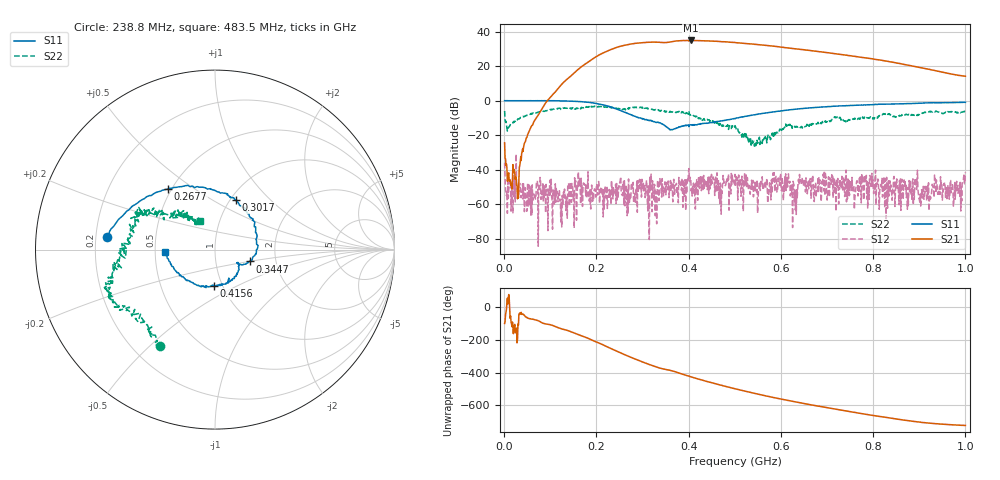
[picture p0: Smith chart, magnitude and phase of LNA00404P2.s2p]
! Created with skrf 1.9.0 (http://scikit-rf.org).
# Hz S RI R 50.0
!freq ReS11 ImS11 ReS21 ImS21 ReS12 ImS12 ReS22 ImS22
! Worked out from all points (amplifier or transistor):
!   1001 points, 1 MHz to 1 GHz, reference 50 ohm
!   highest |S21| = 34.9 dB at 404.6 MHz (marker M1)
!   |S21| within 3 dB of that: 257.5 MHz to 572.3 MHz (314.8 MHz wide, 75.9 % of centre)
!   unconditionally stable (mu >= 1): 206 MHz to 318.6 MHz; 318.7 MHz to 400.1 MHz; 400.9 MHz to end of sweep (the widest 3 of 39)
!   at 166.8 MHz: K = 0.18, MSG = 32.2 dB, |S12| = -44.9 dB
!   at 500.5 MHz: K = 1.46, MAG = 34.2 dB, |S12| = -42.7 dB
!   at 1 GHz: K = 2.11, MAG = 21.8 dB, |S12| = -41.5 dB
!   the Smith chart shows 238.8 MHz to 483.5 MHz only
!   S11 on the Smith chart (normalised r, x): 238.8 MHz: 0.24, +0.05; 267.7 MHz: 0.48, +0.39; 301.7 MHz: 1.06, +0.65; 344.7 MHz: 1.46, -0.20; 415.6 MHz: 0.91, -0.39; 483.5 MHz: 0.56, -0.02
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1000000  1.003 0.0016  -0.0118 -0.059  -0.00651 0.0145  0.3588 0.353
1.08892e8  0.5349 -0.8441  -0.7919 -1.496  -0.000634 0.000789  0.4283 -0.3755
1.67833e8  -0.2094 -0.9098  -9.705 -0.6762  -0.000918 -0.00142  0.0468 -0.6386
2.08792e8  -0.662 -0.4296  -15.81 15.59  0.00235 0.00111  -0.2272 -0.6394
2.38762e8  -0.6042 0.0706  -3.851 33.11  -0.00164 -0.00105  -0.3037 -0.5364
2.67733e8  -0.2628 0.3373  20.41 36.9  0.00128 -0.00249  -0.4902 -0.3344
3.01699e8  0.1154 0.2774  44.55 18.47  -0.00374 0.00154  -0.6097 -0.1788
3.34666e8  0.2352 0.00296  48.68 -8.759  -0.000953 0.00241  -0.5196 -0.0316
3.44656e8  0.1938 -0.0657  45.83 -15.14  0.000896 0.00305  -0.5154 -0.00127
3.73627e8  0.1324 -0.0925  42.52 -33.24  0.000373 0.004  -0.4341 0.1729
4.04596e8  0.0582 -0.1925  22.69 -50.92  -0.000799 0.00546  -0.3265 0.2059
4.15585e8  -0.00488 -0.2026  14.61 -53.45  0.00408 0.000339  -0.2882 0.191
4.45555e8  -0.1533 -0.1709  -8.071 -53.12  0.00275 0.00308  -0.1791 0.1817
4.83517e8  -0.2797 -0.0154  -30.47 -40.31  0.00516 0.00184  -0.0853 0.159
5.005e8  -0.2899 0.0762  -36.6 -32.09  -0.00518 -0.00516  -0.1262 0.141
5.32468e8  -0.2719 0.256  -41.81 -15.28  0.00217 0.00171  -0.0598 0.0344
5.63437e8  -0.1818 0.3944  -40.53 -0.5358  0.00311 5.76e-05  -0.0804 -0.00113
6.11389e8  0.0289 0.5283  -30.44 15.72  0.00186 -0.00168  -0.1715 -0.0658
6.67333e8  0.3034 0.5491  -14.78 23.62  0.00346 -0.00442  -0.1931 -0.0584
7.53247e8  0.6165 0.3931  3.308 19.56  -0.00153 -0.002  -0.2729 -0.00709
8.34166e8  0.7824 0.1651  9.755 9.547  0.00173 -6.35e-05  -0.3987 0.0336
1e9  0.8234 -0.3631  5.116 -0.1707  7.87e-05 -0.00843  -0.2997 0.3966
